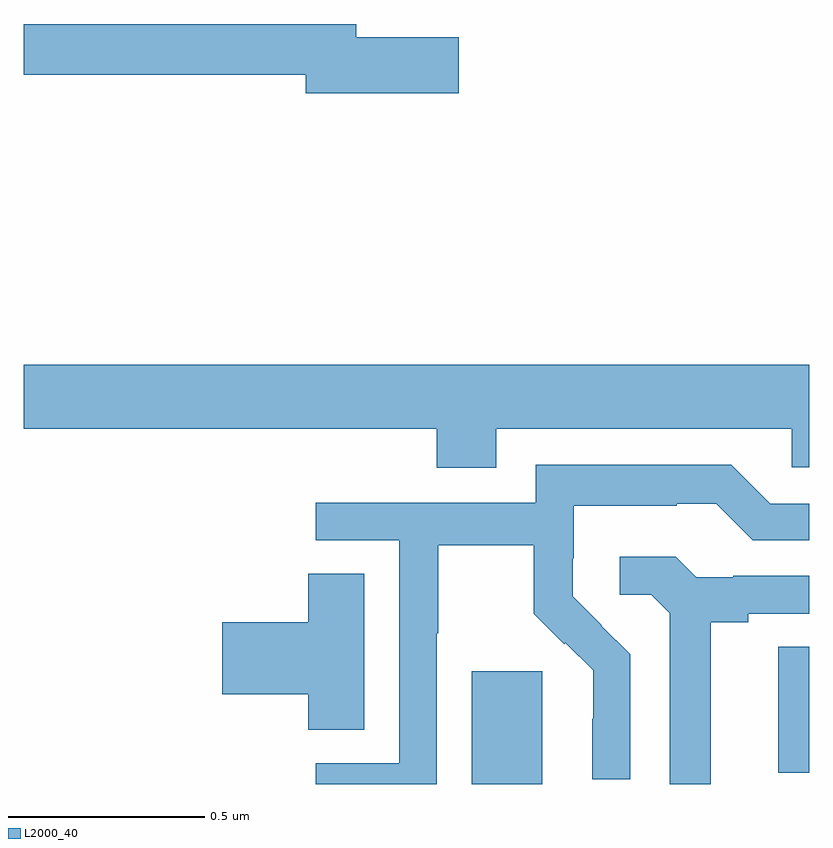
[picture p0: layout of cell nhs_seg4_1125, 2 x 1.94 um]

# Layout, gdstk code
import gdstk
lib = gdstk.Library(unit=1e-6, precision=1e-09)
def R(c, l, rs):  # rectangles x0, y0, x1, y1
    for r in rs: c.add(gdstk.rectangle(r[:2], r[2:], *l))
def P(c, l, *ps):  # polygons
    for p in ps: c.add(gdstk.Polygon(p, *l))
L2000_40 = (2000, 40)

nhs_seg4_1125 = lib.new_cell('nhs_seg4_1125')
R(nhs_seg4_1125, L2000_40, [(125.141,811.9,125.32,812.187), (125.921,811.929,126,812.249)])
P(nhs_seg4_1125, L2000_40, [(125.107,813.801),(124.846,813.801),(124.846,813.835),(124,813.835),(124,813.706),(124.718,813.706),(124.718,813.659),(125.107,813.659)],
  [(125.203,812.804),(125.955,812.804),(125.955,812.706),(126,812.706),(126,812.968),(124,812.968),(124,812.804),(125.051,812.804),(125.051,812.705),(125.203,812.705)],
  [(125.052,812.284),(125.055,812.284),(125.055,812.508),(125.299,812.508),(125.299,812.333),(125.376,812.256),(125.379,812.259),(125.45,812.189),(125.45,812.066),(125.448,812.066),(125.448,811.912),(125.544,811.912),(125.544,812.23),(125.471,812.303),(125.472,812.304),(125.398,812.378),(125.398,812.475),(125.4,812.475),(125.4,812.609),(125.663,812.609),(125.663,812.613),(125.763,812.613),(125.856,812.52),(126,812.52),(126,812.613),(125.901,812.613),(125.801,812.713),(125.304,812.713),(125.304,812.616),(124.743,812.616),(124.743,812.52),(124.956,812.52),(124.956,811.953),(124.743,811.953),(124.743,811.9),(125.052,811.9)],
  [(125.749,812.312),(125.845,812.312),(125.845,812.334),(126,812.334),(126,812.43),(125.806,812.43),(125.806,812.427),(125.712,812.427),(125.66,812.479),(125.517,812.479),(125.517,812.382),(125.598,812.382),(125.645,812.335),(125.645,811.9),(125.749,811.9)],
  [(124.867,812.435),(124.724,812.435),(124.724,812.312),(124.506,812.312),(124.506,812.129),(124.724,812.129),(124.724,812.038),(124.867,812.038)])

lib.write_gds('nhs_seg4_1125.gds')
